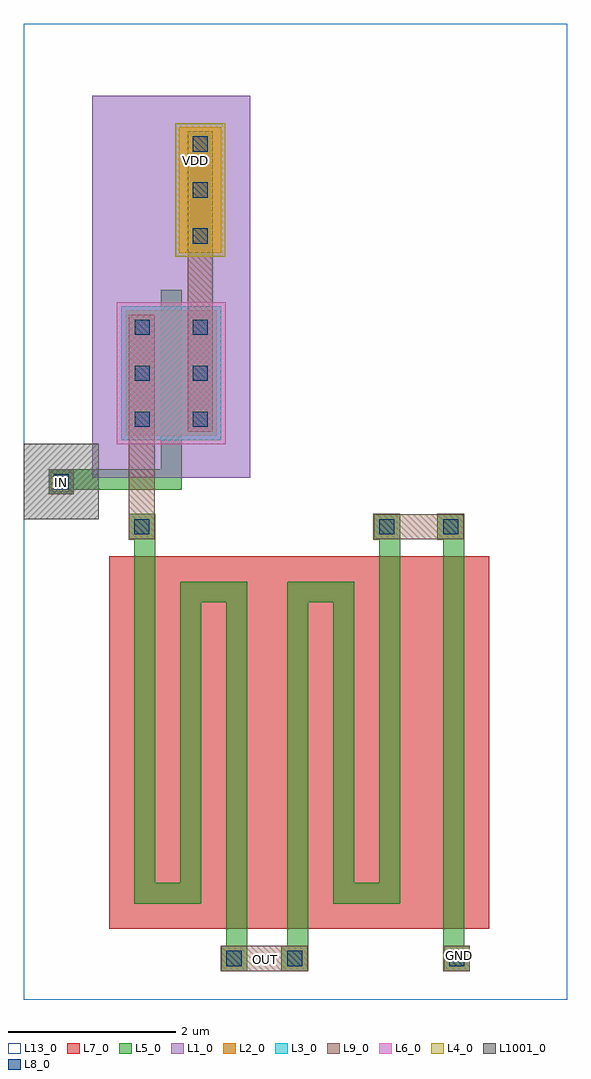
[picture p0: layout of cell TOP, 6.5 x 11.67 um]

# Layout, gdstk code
from math import pi, radians
import gdstk
lib = gdstk.Library(unit=1e-6, precision=1e-09)
def R(c, l, rs):  # rectangles x0, y0, x1, y1
    for r in rs: c.add(gdstk.rectangle(r[:2], r[2:], *l))
def A(c, l, x, y, w, h, nx, ny, dx, dy):  # array of equal rectangles
    R(c, l, [(x+i*dx, y+j*dy, x+i*dx+w, y+j*dy+h) for i in range(nx) for j in range(ny)])
L1_0 = (1, 0)
L2_0 = (2, 0)
L3_0 = (3, 0)
L4_0 = (4, 0)
L5_0 = (5, 0)
L6_0 = (6, 0)
L7_0 = (7, 0)
L8_0 = (8, 0)
L9_0 = (9, 0)
L13_0 = (13, 0)
L1001_0 = (1001, 0)

res = lib.new_cell('RES')
R(res, L5_0, [(5.16,0.23,5.47,0.55), (0,1.33,0.31,1.65)])
R(res, L7_0, [(0.51,0,4.96,1.95)])
R(res, L8_0, [(5.225,0.3,5.405,0.48), (0.065,1.4,0.245,1.58)])
R(res, L9_0, [(5.165,0.235,5.465,0.545), (0.005,1.335,0.305,1.645)])
res.add(gdstk.FlexPath([(0.31,1.525),(4.535,1.525),(4.535,0.975),(0.935,0.975),(0.935,0.425),(5.16,0.425)], 0.25, ends="flush", simple_path=True, layer=5, datatype=0))  # L5_0

hvnmos = lib.new_cell('HVNMOS')
R(hvnmos, L1_0, [(0,0,1.89,2.5)])
R(hvnmos, L2_0, [(0.4,0.5,1.49,2), (0.4,0.5,1.49,2)])
R(hvnmos, L3_0, [(0.345,0.45,1.545,2.05), (0.345,0.45,1.545,2.05)])
R(hvnmos, L5_0, [(0.82,0.25,1.07,2.25), (0.82,0.25,1.07,2.25)])
R(hvnmos, L6_0, [(0.295,0.4,1.595,2.1)])
R(hvnmos, L8_0, [(0.51,0.61,0.69,0.79), (0.51,0.61,0.69,0.79), (1.2,0.61,1.38,0.79), (1.2,0.61,1.38,0.79), (0.51,1.16,0.69,1.34), (0.51,1.16,0.69,1.34), (1.2,1.16,1.38,1.34), (1.2,1.16,1.38,1.34), (0.51,1.71,0.69,1.89), (0.51,1.71,0.69,1.89), (1.2,1.71,1.38,1.89), (1.2,1.71,1.38,1.89)])
R(hvnmos, L9_0, [(0.45,0.55,0.75,1.95), (1.14,0.55,1.44,1.95)])

polym1 = lib.new_cell('POLYM1')
R(polym1, L5_0, [(-0.15,-0.15,0.15,0.15)])
R(polym1, L8_0, [(-0.09,-0.09,0.09,0.09)])
R(polym1, L9_0, [(-0.15,-0.15,0.15,0.15)])
R(polym1, L1001_0, [(-0.45,-0.45,0.45,0.45)])

res2 = lib.new_cell('RES2')
R(res2, L5_0, [(5.16,0.23,5.47,0.55), (0,0.3,0.31,0.62)])
R(res2, L7_0, [(0.51,0,4.96,0.9)])
R(res2, L8_0, [(5.225,0.3,5.405,0.48), (0.065,0.37,0.245,0.55)])
R(res2, L9_0, [(5.165,0.235,5.465,0.545), (0.005,0.305,0.305,0.615)])
res2.add(gdstk.FlexPath([(0.31,0.425),(5.16,0.425)], 0.25, ends="flush", simple_path=True, layer=5, datatype=0))  # L5_0

top = lib.new_cell('TOP')
R(top, L1_0, [(0.82,8.735,2.71,10.8)])
R(top, L2_0, [(1.86,8.925,2.36,10.425)])
R(top, L4_0, [(1.81,8.875,2.41,10.475)])
A(top, L8_0, 2.02, 9.035, 0.18, 0.18, 1, 3, 0, 0.55)
R(top, L9_0, [(2.62,0.34,3.125,0.64), (4.475,5.5,4.99,5.8), (1.26,5.8,1.57,8.185), (1.96,8.18,2.26,8.975), (1.96,8.975,2.26,10.375)])
R(top, L13_0, [(0,0,6.5,11.665)])
top.add(gdstk.FlexPath([(1.765,6.485),(1.765,6.215),(0.45,6.215)], 0.25, ends="flush", simple_path=True, layer=5, datatype=0))  # L5_0
top.add(gdstk.Reference(res, (1.025,0.335), rotation=pi/2, x_reflection=True))
top.add(gdstk.Reference(hvnmos, (2.71,6.235), rotation=pi, x_reflection=True))
top.add(gdstk.Reference(polym1, (0.45,6.19), rotation=pi, x_reflection=True))
top.add(gdstk.Reference(res, (2.85,5.805), rotation=3*pi/2))
top.add(gdstk.Reference(res2, (5.565,5.805), rotation=3*pi/2, x_reflection=True))
top.add(gdstk.Label('GND', (5.205,0.52), layer=9, texttype=0))
top.add(gdstk.Label('VDD', (2.06,10.025), layer=9, texttype=0))
top.add(gdstk.Label('IN', (0.45,6.18), layer=9, texttype=0))
top.add(gdstk.Label('OUT', (2.89,0.48), layer=9, texttype=0))

lib.write_gds('TOP.gds')
